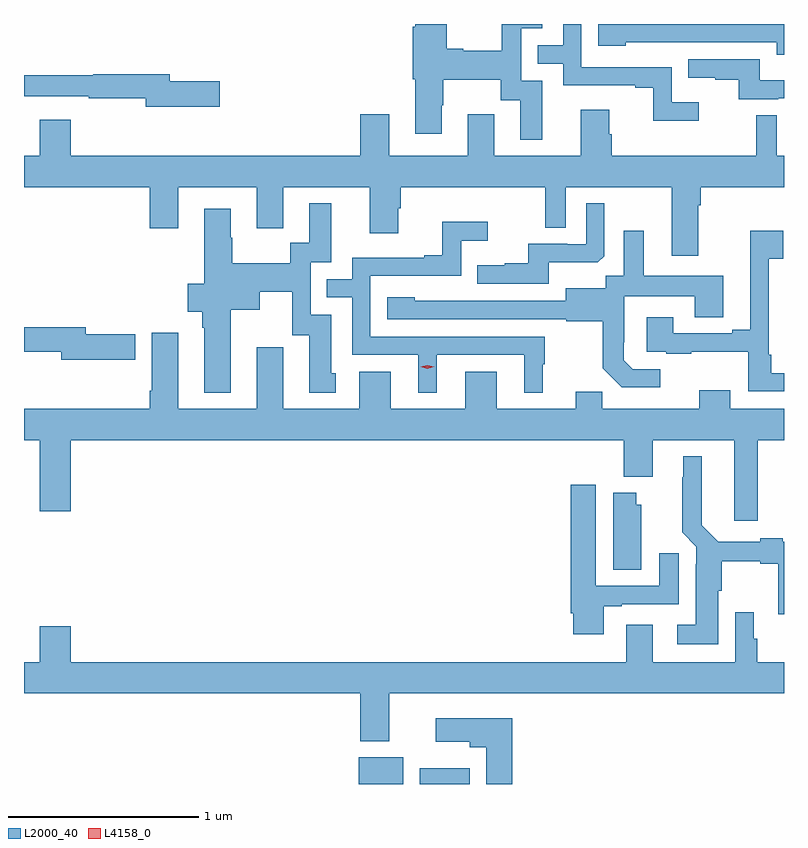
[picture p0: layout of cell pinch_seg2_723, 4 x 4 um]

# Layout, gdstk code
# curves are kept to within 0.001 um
import gdstk
lib = gdstk.Library(unit=1e-6, precision=1e-09)
def R(c, l, rs):  # rectangles x0, y0, x1, y1
    for r in rs: c.add(gdstk.rectangle(r[:2], r[2:], *l))
def P(c, l, *ps):  # polygons
    for p in ps: c.add(gdstk.Polygon(p, *l))
L2000_40 = (2000, 40)
L4158_0 = (4158, 0)

pinch_seg2_723 = lib.new_cell('pinch_seg2_723')
R(pinch_seg2_723, L2000_40, [(778.076,643.162,778.309,643.303), (778.397,643.162,778.66,643.246)])
P(pinch_seg2_723, L2000_40, [(779.866,646.75),(779.724,646.75),(779.724,646.935),(779.247,646.935),(779.247,647.162),(779.151,647.162),(779.151,647.049),(779.017,647.049),(779.017,646.953),(779.151,646.953),(779.151,646.839),(779.531,646.839),(779.531,646.827),(779.626,646.827),(779.626,646.652),(779.866,646.652)],
  [(779.041,646.863),(778.932,646.863),(778.932,647.139),(779.041,647.139),(779.041,647.162),(778.829,647.162),(778.829,647.02),(778.627,647.02),(778.627,647.033),(778.539,647.033),(778.539,647.162),(778.373,647.162),(778.373,647.147),(778.361,647.147),(778.361,646.872),(778.373,646.872),(778.373,646.584),(778.513,646.584),(778.513,646.734),(778.521,646.734),(778.521,646.868),(778.824,646.868),(778.824,646.762),(778.925,646.762),(778.925,646.554),(779.041,646.554)],
  [(780.314,647.162),(779.337,647.162),(779.337,647.048),(779.481,647.048),(779.481,647.066),(779.717,647.066),(779.717,647.067),(780.275,647.067),(780.275,647),(780.314,647)],
  [(780.284,646.77),(780.314,646.77),(780.314,646.865),(780.187,646.865),(780.187,646.977),(779.809,646.977),(779.809,646.88),(779.953,646.88),(779.953,646.869),(780.077,646.869),(780.077,646.767),(780.284,646.767)],
  [(777.343,646.862),(777.082,646.862),(777.082,646.898),(776.678,646.898),(776.678,646.891),(776.314,646.891),(776.314,646.782),(776.656,646.782),(776.656,646.77),(776.954,646.77),(776.954,646.727),(777.343,646.727)],
  [(779.863,646.208),(779.876,646.208),(779.876,646.304),(780.314,646.304),(780.314,646.468),(780.276,646.468),(780.276,646.682),(780.168,646.682),(780.168,646.468),(779.408,646.468),(779.408,646.581),(779.395,646.581),(779.395,646.711),(779.243,646.711),(779.243,646.468),(778.789,646.468),(778.789,646.687),(778.649,646.687),(778.649,646.468),(778.237,646.468),(778.237,646.687),(778.085,646.687),(778.085,646.468),(776.56,646.468),(776.56,646.657),(776.396,646.657),(776.396,646.468),(776.314,646.468),(776.314,646.304),(776.975,646.304),(776.975,646.086),(777.127,646.086),(777.127,646.304),(777.539,646.304),(777.539,646.086),(777.679,646.086),(777.679,646.304),(778.133,646.304),(778.133,646.062),(778.285,646.062),(778.285,646.191),(778.298,646.191),(778.298,646.304),(779.058,646.304),(779.058,646.09),(779.166,646.09),(779.166,646.304),(779.723,646.304),(779.723,645.942),(779.863,645.942)],
  [(779.077,645.908),(779.335,645.908),(779.367,645.939),(779.367,646.219),(779.274,646.219),(779.274,646.002),(779.174,646.002),(779.174,646.005),(778.967,646.005),(778.967,645.904),(778.843,645.904),(778.843,645.892),(778.699,645.892),(778.699,645.795),(779.077,645.795)],
  [(777.403,645.659),(777.556,645.659),(777.556,645.752),(777.726,645.752),(777.726,645.525),(777.815,645.525),(777.815,645.222),(777.955,645.222),(777.955,645.324),(777.931,645.324),(777.931,645.633),(777.822,645.633),(777.822,645.909),(777.931,645.909),(777.931,646.219),(777.815,646.219),(777.815,646.01),(777.714,646.01),(777.714,645.904),(777.411,645.904),(777.411,646.038),(777.403,646.038),(777.403,646.189),(777.263,646.189),(777.263,645.794),(777.176,645.794),(777.176,645.647),(777.251,645.647),(777.251,645.563),(777.263,645.563),(777.263,645.221),(777.403,645.221)],
  [(778.486,645.42),(778.946,645.42),(778.946,645.221),(779.044,645.221),(779.044,645.372),(779.056,645.372),(779.056,645.516),(778.137,645.516),(778.137,645.837),(778.614,645.837),(778.614,646.022),(778.756,646.022),(778.756,646.121),(778.516,646.121),(778.516,645.946),(778.421,645.946),(778.421,645.933),(778.041,645.933),(778.041,645.819),(777.907,645.819),(777.907,645.723),(778.041,645.723),(778.041,645.42),(778.388,645.42),(778.388,645.221),(778.486,645.221)],
  [(779.662,645.345),(779.517,645.345),(779.47,645.392),(779.47,645.487),(779.472,645.487),(779.472,645.728),(779.843,645.728),(779.843,645.619),(779.995,645.619),(779.995,645.838),(779.575,645.838),(779.575,646.075),(779.471,646.075),(779.471,645.836),(779.376,645.836),(779.376,645.772),(779.165,645.772),(779.165,645.705),(778.371,645.706),(778.371,645.724),(778.227,645.724),(778.227,645.609),(779.169,645.609),(779.169,645.597),(779.361,645.597),(779.361,645.351),(779.461,645.251),(779.662,645.251)],
  [(780.314,645.325),(780.247,645.325),(780.247,645.421),(780.234,645.421),(780.234,645.926),(780.31,645.926),(780.31,646.075),(780.137,646.075),(780.137,645.553),(780.041,645.553),(780.041,645.534),(779.731,645.534),(779.731,645.619),(779.591,645.619),(779.591,645.438),(779.695,645.438),(779.695,645.426),(779.827,645.426),(779.827,645.437),(780.126,645.437),(780.126,645.228),(780.314,645.228)],
  [(776.899,645.53),(776.638,645.53),(776.638,645.566),(776.314,645.566),(776.314,645.438),(776.51,645.438),(776.51,645.395),(776.899,645.395)],
  [(779.471,644.78),(779.623,644.78),(779.623,644.972),(780.053,644.972),(780.053,644.547),(780.176,644.547),(780.176,644.972),(780.314,644.972),(780.314,645.136),(780.031,645.136),(780.031,645.235),(779.867,645.235),(779.867,645.136),(779.357,645.136),(779.357,645.227),(779.219,645.227),(779.219,645.136),(778.801,645.136),(778.801,645.331),(778.637,645.331),(778.637,645.136),(778.243,645.136),(778.243,645.331),(778.079,645.331),(778.079,645.136),(777.679,645.136),(777.679,645.46),(777.539,645.46),(777.539,645.136),(777.127,645.136),(777.127,645.538),(776.987,645.538),(776.987,645.232),(776.975,645.232),(776.975,645.136),(776.314,645.136),(776.314,644.972),(776.396,644.972),(776.396,644.598),(776.56,644.598),(776.56,644.972),(779.471,644.972)],
  [(779.968,644.178),(779.986,644.178),(779.986,644.335),(780.188,644.335),(780.188,644.32),(780.284,644.32),(780.284,644.055),(780.314,644.055),(780.314,644.436),(780.308,644.436),(780.308,644.456),(780.188,644.456),(780.188,644.436),(779.968,644.436),(779.881,644.524),(779.881,644.887),(779.783,644.887),(779.783,644.777),(779.779,644.777),(779.779,644.486),(779.853,644.412),(779.853,644.318),(779.849,644.318),(779.849,643.999),(779.751,643.999),(779.751,643.898),(779.968,643.898)],
  [(779.365,644.097),(779.461,644.097),(779.461,644.109),(779.761,644.109),(779.761,644.377),(779.657,644.377),(779.657,644.205),(779.323,644.205),(779.323,644.737),(779.192,644.737),(779.192,644.062),(779.204,644.062),(779.204,643.95),(779.365,643.95)],
  [(779.563,644.631),(779.536,644.631),(779.536,644.695),(779.414,644.695),(779.414,644.29),(779.563,644.29)],
  [(778.237,643.64),(780.314,643.64),(780.314,643.804),(780.173,643.804),(780.173,643.926),(780.154,643.926),(780.154,644.065),(780.057,644.065),(780.057,643.804),(779.623,643.804),(779.623,643.999),(779.483,643.999),(779.483,643.804),(776.56,643.804),(776.56,643.993),(776.396,643.993),(776.396,643.804),(776.314,643.804),(776.314,643.64),(778.085,643.64),(778.085,643.388),(778.237,643.388)],
  [(778.883,643.507),(778.482,643.507),(778.482,643.385),(778.661,643.385),(778.661,643.355),(778.748,643.355),(778.748,643.162),(778.883,643.162)])
P(pinch_seg2_723, L4158_0, [(778.437,645.347),(778.402,645.357),(778.401,645.357),(778.402,645.357),(778.437,645.367),(778.472,645.357),(778.473,645.357),(778.472,645.357)])

lib.write_gds('pinch_seg2_723.gds')
